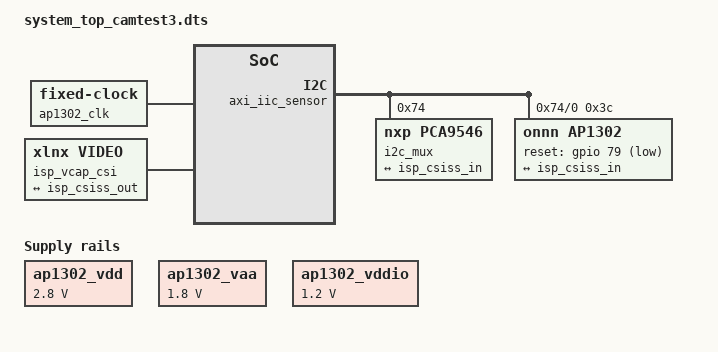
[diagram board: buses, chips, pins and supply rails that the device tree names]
/*
 * Device-tree overlay for the CAMTEST bitstream on AMD Kria KV260.
 * Tests the AP1302 reset-via-PS-EMIO-GPIO fix from 2026-05-12.
 *
 * Mirrors fpga/system/system_top_camtest.tcl - camera-only:
 *   PL slaves (kernel-driven):
 *     - mipi_csi2_rx_subsystem  @ 0x80000000  -> xilinx-csi2rxss V4L2 subdev
 *     - v_frmbuf_wr             @ 0x80010000  -> xilinx-frmbuf V4L2 capture DMA
 *     - axi_iic (sensor IIC)    @ 0xA0050000  -> xiic-i2c, with AP1302+AR1335 children
 *
 *   NO T1, DMA, or BRAM nodes - those addresses aren't backed in the
 *   camtest BD, so probing them would DECERR / kernel-panic.
 *
 *   ap1302_rst_b is now driven by PS emio_gpio_o[bit 1] in the BD,
 *   so reset-gpios = <&gpio 79 1> actually controls the chip
 *   (driver power_on() will toggle a real pin instead of a stub).
 *
 *   Frmbuf is in 5o config (UYVY only, single-plane) - no NV12 in camtest
 *   to keep the BD identical to 5o for hypothesis isolation.
 *
 * Build:
 *   dtc -@ -I dts -O dtb -o system_top_camtest.dtbo \
 *       fpga/dts/system_top_camtest.dts
 */

/dts-v1/;
/plugin/;

&fpga_full {
	#address-cells = <2>;
	#size-cells = <2>;
	firmware-name = "xilinx/visionsoc/system_top_camtest3.bit.bin";
	resets = <&zynqmp_reset 116>, <&zynqmp_reset 117>,
	         <&zynqmp_reset 118>, <&zynqmp_reset 119>;
};

&amba {
	#address-cells = <2>;
	#size-cells = <2>;

	/* Fabric clock declarations (match clk_wiz_0 outputs in BD). */
	misc_clk_60: misc_clk_60 {
		#clock-cells = <0>;
		clock-frequency = <59999401>;     /* PL pl_clk0 */
		compatible = "fixed-clock";
	};
	misc_clk_100: misc_clk_100 {
		#clock-cells = <0>;
		clock-frequency = <99999000>;
		compatible = "fixed-clock";
	};
	misc_clk_200: misc_clk_200 {
		#clock-cells = <0>;
		clock-frequency = <199998000>;
		compatible = "fixed-clock";
	};
	misc_clk_300: misc_clk_300 {
		#clock-cells = <0>;
		clock-frequency = <299997000>;
		compatible = "fixed-clock";
	};

	/* AP1302 sensor clock (24 MHz crystal on IAS daughtercard).
	 * Value is bookkeeping-only for the kernel clock framework - the
	 * AP1302 driver just calls clk_prepare_enable, never reads the rate.
	 * (Note: <0x48000000> = 1.2 GHz which is wrong; fixed here to a
	 * sensible value.) */
	ap1302_clk: sensor_clk {
		#clock-cells = <0>;
		compatible = "fixed-clock";
		clock-frequency = <24000000>;     /* 24 MHz IAS crystal */
	};

	ap1302_vdd: fixedregulator-vdd {
		compatible = "regulator-fixed";
		regulator-name = "ap1302_vdd";
		regulator-min-microvolt = <2800000>;
		regulator-max-microvolt = <2800000>;
		enable-active-high;
	};
	ap1302_vaa: fixedregulator-vaa {
		compatible = "regulator-fixed";
		regulator-name = "ap1302_vaa";
		regulator-min-microvolt = <1800000>;
		regulator-max-microvolt = <1800000>;
	};
	ap1302_vddio: fixedregulator-vddio {
		compatible = "regulator-fixed";
		regulator-name = "ap1302_vddio";
		regulator-min-microvolt = <1200000>;
		regulator-max-microvolt = <1200000>;
	};

	/* AXI IIC for AP1302 sensor.
	 * IRQ: pl_ps_irq0[3] -> SPI 92 (89 + 3). */
	axi_iic_sensor: i2c@a0050000 {
		#address-cells = <1>;
		#size-cells = <0>;
		clock-names = "s_axi_aclk";
		clocks = <&misc_clk_60>;
		compatible = "xlnx,axi-iic-2.1", "xlnx,xps-iic-2.00.a";
		interrupt-names = "iic2intc_irpt";
		interrupt-parent = <&gic>;
		interrupts = <0 92 4>;
		reg = <0x0 0xa0050000 0x0 0x10000>;

		i2c_mux: i2c-mux@74 {
			compatible = "nxp,pca9546";
			#address-cells = <1>;
			#size-cells = <0>;
			reg = <0x74>;

			i2c@0 {
				#address-cells = <1>;
				#size-cells = <0>;
				reg = <0>;

				ap1302: isp@3c {
					compatible = "onnn,ap1302";
					reg = <0x3c>;
					#address-cells = <1>;
					#size-cells = <0>;
					/* gpio 79 = EMIO bit 1 in standard zynqmp numbering
					 * (MIO=0..77, EMIO=78..173). Camtest BD wires
					 * emio_gpio_o[1] -> ap1302_rst_b via xlslice, so the
					 * driver's power_on() now toggles a REAL reset pin. */
					reset-gpios = <&gpio 79 1>;
					clocks = <&ap1302_clk>;
					sensors {
						#address-cells = <1>;
						#size-cells = <0>;
						onnn,model = "onnn,ar1335";
						sensor@0 {
							reg = <0>;
							vdd-supply = <&ap1302_vdd>;
							vaa-supply = <&ap1302_vaa>;
							vddio-supply = <&ap1302_vddio>;
						};
					};
					ports {
						#address-cells = <1>;
						#size-cells = <0>;
						port@0 {
							reg = <2>;
							isp_out: endpoint {
								remote-endpoint = <&isp_csiss_in>;
								data-lanes = <1 2 3 4>;
							};
						};
					};
				};
			};
		};
	};

	/* MIPI CSI-2 RX subsystem.
	 * Same config as 5o (UYVY, ppc=1) - only reset wiring differs. */
	isp_csiss: csiss@80000000 {
		compatible = "xlnx,mipi-csi2-rx-subsystem-6.0",
			     "xlnx,mipi-csi2-rx-subsystem-5.0";
		reg = <0x0 0x80000000 0x0 0x10000>;
		clock-names = "lite_aclk", "dphy_clk_200M", "video_aclk";
		clocks = <&misc_clk_100>, <&misc_clk_200>, <&misc_clk_300>;
		interrupt-parent = <&gic>;
		interrupts = <0 93 4>;
		/* camtest3 v8c: full NV12 chain - csi-pxl-format = 0x18 (YUV420_8B),
		 * ap1302 set to UYYVYY8_0_5X24 mbus (driver writes PREVIEW_OUT_FMT
		 * with FST_YUV_420 = NV12 instead of UYVY). */
		xlnx,csi-pxl-format = <0x18>;
		xlnx,axis-tdata-width = <32>;
		xlnx,max-lanes = <4>;
		xlnx,en-active-lanes;
		xlnx,vc = <0>;
		xlnx,ppc = <2>;
		xlnx,vfb;

		ports {
			#address-cells = <1>;
			#size-cells = <0>;

			port@1 {
				reg = <0x1>;
				xlnx,video-format = <0x3>; /* UYVY */
				xlnx,video-width = <0x8>;

				isp_csiss_out: endpoint {
					remote-endpoint = <&isp_vcap_csi_in>;
				};
			};
			port@0 {
				reg = <0x0>;
				xlnx,video-format = <0x3>;
				xlnx,video-width = <0x8>;

				isp_csiss_in: endpoint {
					data-lanes = <1 2 3 4>;
					remote-endpoint = <&isp_out>;
				};
			};
		};
	};

	/* v_frmbuf_wr - captures CSI stream into DDR.
	 * Same 5o config (UYVY only, single plane). */
	isp_fb_wr_csi: fb_wr@80010000 {
		/* gpio 78 = EMIO bit 0. Not currently routed in camtest BD
		 * (only bit 1 routed for ap1302_rst_b), so this still toggles
		 * a stub. Driver requires reset-gpios property to probe. */
		reset-gpios = <&gpio 78 1>;
		compatible = "xlnx,axi-frmbuf-wr-v2.1";
		reg = <0x0 0x80010000 0x0 0x10000>;
		#dma-cells = <1>;
		interrupt-parent = <&gic>;
		interrupts = <0 94 4>;
		/* Camtest: UYVY only. */
		xlnx,vid-formats = "nv12";
		xlnx,dma-addr-width = <32>;
		xlnx,pixels-per-clock = <2>;
		xlnx,max-width = <256>;
		xlnx,max-height = <256>;
		clocks = <&misc_clk_300>;
		clock-names = "ap_clk";
	};

	/* Capture device tying the V4L2 graph together (CSI-2 -> frmbuf).
	 * Generates /dev/video0. */
	isp_vcap_csi {
		compatible = "xlnx,video";
		dmas = <&isp_fb_wr_csi 0>;
		dma-names = "port0";

		ports {
			#address-cells = <1>;
			#size-cells = <0>;

			port@0 {
				reg = <0>;
				direction = "input";

				isp_vcap_csi_in: endpoint {
					remote-endpoint = <&isp_csiss_out>;
				};
			};
		};
	};

};
